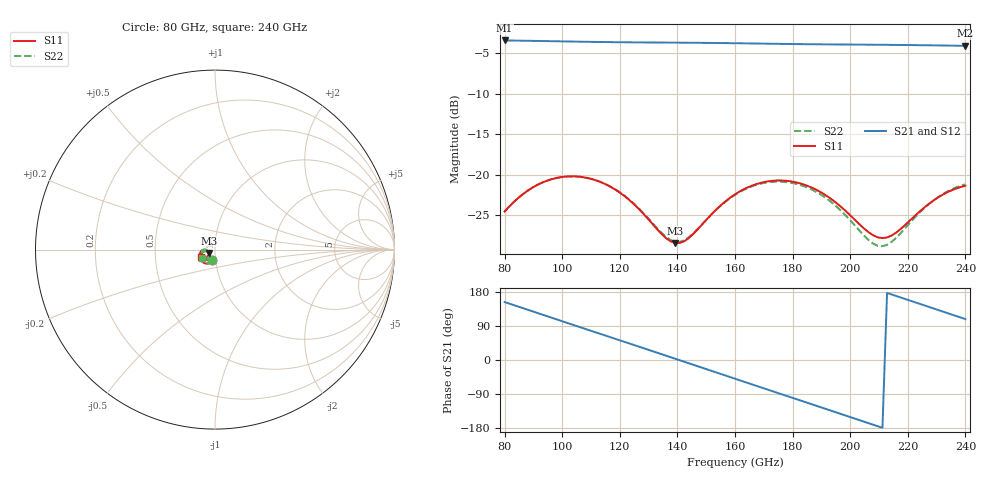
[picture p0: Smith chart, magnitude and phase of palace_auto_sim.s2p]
#  GHZ S DB R 50
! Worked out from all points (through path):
!   101 points, 80 GHz to 240 GHz, reference 50 ohm
!   highest |S21| = -3.39 dB at 80 GHz (marker M1); lowest = -4.1 dB at 240 GHz (marker M2)
!   group delay of S21, straight-line fit = 7.03 ps
!   lowest |S11| = -28.4 dB at 139.2 GHz (marker M3), VSWR 1.08, Z = 46.8 - j1.75 ohm
!   |S11| at or under -10 dB: start of sweep to end of sweep
!   |S22| runs from -28.8 to -20.2 dB; largest |S21 - S12| = 7.5e-14
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80  -24.53 -105.1  -3.39 152.9  -3.39 152.9  -24.52 -106.0
88  -21.95 -111.6  -3.43 132.7  -3.43 132.7  -21.96 -112.2
94.4  -20.76 -121.7  -3.47 116.4  -3.47 116.4  -20.76 -122.1
100.8  -20.22 -133.1  -3.51 100.3  -3.51 100.3  -20.22 -133.5
107.2  -20.28 -144.8  -3.55 84.1  -3.55 84.1  -20.28 -145.1
120  -22.19 -165.1  -3.61 51.9  -3.61 51.9  -22.15 -165.2
128  -24.73 -170.8  -3.63 31.7  -3.63 31.7  -24.65 -170.9
134.4  -27.27 -164.7  -3.65 15.6  -3.65 15.6  -27.13 -165.0
139.2  -28.42 -150.5  -3.66 3.4  -3.66 3.4  -28.26 -151.4
142.4  -28.20 -139.3  -3.67 -4.7  -3.67 -4.7  -28.08 -140.6
148.8  -26.04 -126.1  -3.69 -21.0  -3.69 -21.0  -26.02 -127.6
160  -22.40 -130.0  -3.73 -49.4  -3.73 -49.4  -22.46 -131.3
168  -21.07 -140.9  -3.77 -69.7  -3.77 -69.7  -21.17 -142.2
174.4  -20.70 -151.0  -3.80 -85.9  -3.80 -85.9  -20.82 -152.3
180.8  -20.89 -161.0  -3.83 -102.0  -3.83 -102.0  -21.06 -162.5
187.2  -21.66 -170.1  -3.86 -118.2  -3.86 -118.2  -21.91 -171.7
201.6  -25.54 -177.8  -3.90 -154.6  -3.90 -154.6  -26.24 -179.3
209.6  -27.72 -162.8  -3.92 -174.9  -3.92 -174.9  -28.76 -160.4
214.4  -27.49 -148.9  -3.94 173.0  -3.94 173.0  -28.27 -143.5
225.6  -24.07 -137.4  -3.98 144.5  -3.98 144.5  -24.15 -131.9
233.6  -22.17 -143.7  -4.02 124.2  -4.02 124.2  -22.08 -138.9
240  -21.35 -151.9  -4.05 108.0  -4.05 108.0  -21.17 -147.5
